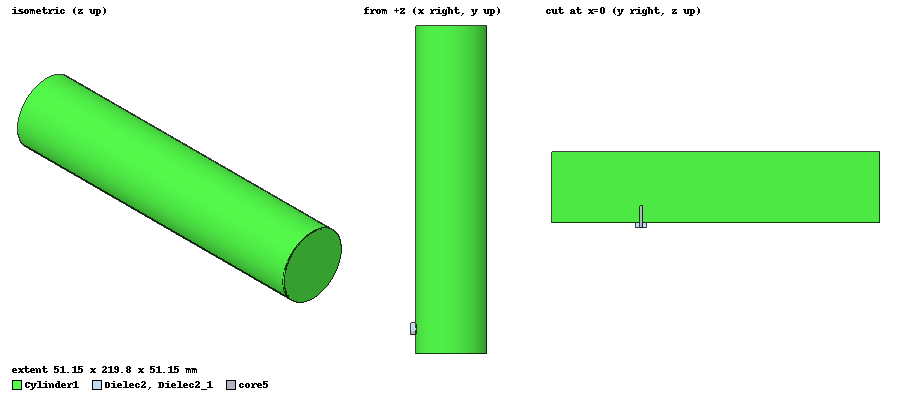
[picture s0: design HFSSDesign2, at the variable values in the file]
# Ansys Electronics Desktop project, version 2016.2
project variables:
  $Pin_length = 10mm
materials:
  vacuum: permittivity=1
  Teflon (tm): permittivity=2.1 dielectric_loss_tangent=0.001
  copper: permeability=0.999991 conductivity=58000000
  pec: conductivity=1e+030

design HFSSDesign2 (HFSS, DrivenModal, model units mm)
options: Calculate_Lossy_Dielectrics
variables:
  Ro = 4.44mm  # optimise 2.22mm..6.66mm; sensitivity 2.22mm..6.66mm
  t = 0.6mm
  Ri = 1.13mm  # optimise 0.565mm..1.695mm; sensitivity 0.565mm..1.695mm
  zce = 3.5mm
  ycer = (0.016770509831248*1000) mm
  Hc = 15mm  # optimise 7.5mm..22.5mm; sensitivity 7.5mm..22.5mm
  hc2 = 15mm
  h2 = 16.77051mm
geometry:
  Cylinder1 [vacuum] = cylinder(axis=Y, base_centre=(0mm, 0mm, 0mm), radius=0.023824072meter, height=(0.02197770609155983*1000*10) mm)
  coordinate_system RelativeCS1 = origin=(30mm, 2.13mm, -6mm) x=(1mm, 0mm, 0mm) y=(0mm, 1mm, 0mm)
  coordinate_system RelativeCS2 = origin=(-30mm, -2.13mm, 6mm) x=(1mm, 0mm, 0mm) y=(0mm, 1mm, 0mm) in RelativeCS1
  Dielec2 [vacuum] = cylinder(axis=Z, base_centre=(0meter, ycer, -0.023824071643967-zce), radius=Ro-t, height=5mm) in RelativeCS2
  core4 = cylinder(axis=Z, base_centre=(0meter, 0meter, -0.023824072meter), radius=Ri, height=6mm) in RelativeCS2
  Cylinder3_3 = core4.copy()
  Dielec2.subtract(Cylinder3_3)
  core4.delete()
  core5 [pec] = cylinder(axis=Z, base_centre=(0meter, ycer, -0.023824071643967-zce), radius=Ri, height=Hc) in RelativeCS2
  core5_1 = core5.duplicate_around_axis(axis=Y, angle=90deg, total=2) in RelativeCS2
  Dielec2_1 [vacuum] = Dielec2.duplicate_around_axis(axis=Y, angle=90deg, total=2) in RelativeCS2
  Cylinder1_2 = Cylinder1.copy()
  Dielec2_1.subtract(Cylinder1_2)
  Cylinder1_3 = Cylinder1.copy()
  Dielec2.subtract(Cylinder1_3)
  coordinate_system RelativeCS3 = origin=(30mm, 2.13mm, -6mm) x=(1mm, 0mm, 0mm) y=(0mm, 1mm, 0mm) in RelativeCS2
  coordinate_system RelativeCS4 = origin=(-30mm, -2.13mm, 6mm) x=(1mm, 0mm, 0mm) y=(0mm, 1mm, 0mm) in RelativeCS3
  core5_1_1 = core5_1.copy()
  Cylinder1.subtract(core5_1_1)
  core5_3 = core5.copy()
  Dielec2.subtract(core5_3)
  core5_1_3 = core5_1.copy()
  core5_1.delete()
  Dielec2_1.subtract(core5_1_3)
  core5.move(0mm, 0.04330127meter, 0mm) in RelativeCS2
  Dielec2.move(0mm, 43.30127mm, 0mm) in RelativeCS2
  core5_5 = core5.copy()
  Cylinder1.subtract(core5_5)
  Cylinder2 [pec] = cylinder(axis=X, base_centre=(-27.324072mm, h2, 0mm), radius=1.13mm, height=15mm) in RelativeCS2
  Circle1 [non-model] = circle(normal=Y, centre=(0mm, 120mm, 0mm), radius=23.824072mm) in RelativeCS2
  Circle2 [non-model] = circle(normal=Y, centre=(0mm, 200mm, 0mm), radius=23.824072mm) in RelativeCS2
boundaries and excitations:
  PerfE1: Perfect E Faces=Dielec2_1.face(1 of 3)
  PerfE2: Perfect E Faces=Dielec2.face(1 of 3)
  2: Wave Port Faces=Dielec2_1.face(2 of 3) NumModes=1 Modes{Mode1{IntLine{Dielec2_1.edge(at (-27.3241, 16.7705, 1.13)) at 0.25 along -> Dielec2_1.edge(1 of 2) at -0.25 along} CharImp=Zpi}}
  3: Wave Port Faces=Cylinder1.face(3 of 3) NumModes=1 Modes{Mode1{IntLine{centre of Cylinder1.face(3 of 3) -> Cylinder1.vertex(2 of 2)} CharImp=Zpi}}
  1: Wave Port Faces=Dielec2.face(2 of 3) NumModes=1 Modes{Mode1{IntLine{Dielec2.edge(#1020) at 0.25 along -> Dielec2.edge(1 of 2) at -0.25 along} CharImp=Zpi}}
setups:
  Setup1: HfssDriven Frequency=6GHz MaxDeltaS=0.05 MaximumPasses=10 MinimumPasses=1 MinimumConvergedPasses=1 PercentRefinement=30 BasisOrder=1 PortAccuracy=2
    sweep Sweep: 4GHz to 8GHz step 0.1GHz; Type=Interpolating InterpTolerance=0.5 InterpMaxSolns=250 InterpUsePortImped=false PassivityErrorTolerance=0.0001
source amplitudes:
  2:1: 10W 90deg
  3:1: 0W 0deg
  1:1: 10W 0deg
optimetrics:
  SensitivitySetup1: Sensitivity MaxIterations=10 Master_Goal=-1 MasterError=0.0001
    vary Hc: Min=7.5mm Max=22.5mm IDisp=1.5mm start=15mm
    calculate dB(S(1,1)) on Setup1 : Sweep at Freq 4GHz
    calculate dB(S(2,1)) on Setup1 : Sweep at Freq 4GHz
    calculate dB(S(3,2)) on Setup1 : Sweep at Freq 4GHz
    calculate dB(S(3,1)) on Setup1 : Sweep at Freq 4GHz
    calculate dB(S(3,3)) on Setup1 : Sweep at Freq 4GHz
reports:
  XY Plot 1: dB(S(1,1)) vs Freq on Setup1 : Sweep
  XY Plot 2: dB(S(1,2)) vs Freq on Setup1 : Sweep
  XY Plot 3: dB(S(1,3)) vs Freq on Setup1 : Sweep
  XY Plot 4: dB(S(2,1)) vs Freq on Setup1 : Sweep
